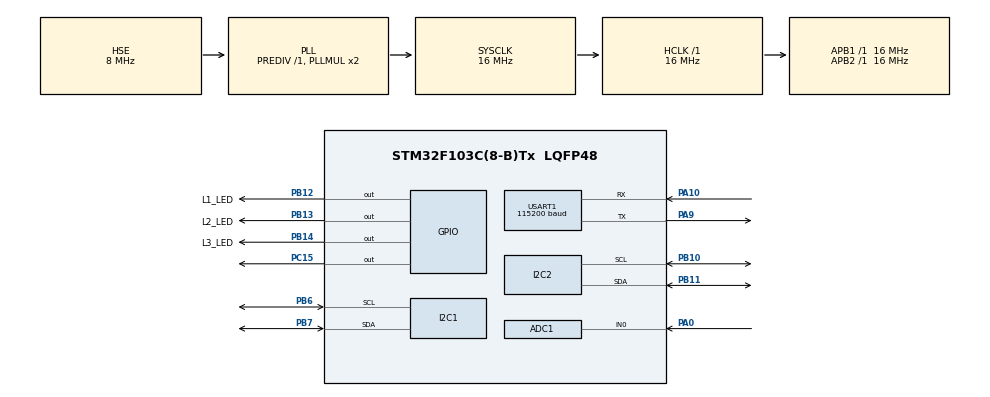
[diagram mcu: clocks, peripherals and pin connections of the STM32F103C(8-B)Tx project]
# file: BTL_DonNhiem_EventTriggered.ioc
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ADC1.Channel-0\#ChannelRegularConversion=ADC_CHANNEL_0
ADC1.ContinuousConvMode=ENABLE
ADC1.NbrOfConversionFlag=1
ADC1.Rank-0\#ChannelRegularConversion=1
ADC1.SamplingTime-0\#ChannelRegularConversion=ADC_SAMPLETIME_1CYCLE_5
ADC1.master=1
Mcu.Family=STM32F1
Mcu.Name=STM32F103C(8-B)Tx
Mcu.Package=LQFP48
NVIC.PriorityGroup=NVIC_PRIORITYGROUP_4
NVIC.TIM2_IRQn=true\:0\:0\:false\:false\:true\:true\:true\:true
NVIC.USART1_IRQn=true\:1\:0\:true\:false\:true\:true\:true\:true
PA0-WKUP.Signal=ADCx_IN0
PA10.Mode=Asynchronous
PA10.Signal=USART1_RX
PA13.Mode=Serial_Wire
PA13.Signal=SYS_JTMS-SWDIO
PA14.Mode=Serial_Wire
PA14.Signal=SYS_JTCK-SWCLK
PA9.Mode=Asynchronous
PA9.Signal=USART1_TX
PB10.Mode=I2C
PB10.Signal=I2C2_SCL
PB11.Mode=I2C
PB11.Signal=I2C2_SDA
PB12.GPIO_Label=L1_LED
PB12.GPIO_Speed=GPIO_SPEED_FREQ_LOW
PB12.PinState=GPIO_PIN_SET
PB12.Signal=GPIO_Output
PB13.GPIO_Label=L2_LED
PB13.PinState=GPIO_PIN_SET
PB13.Signal=GPIO_Output
PB14.GPIO_Label=L3_LED
PB14.PinState=GPIO_PIN_SET
PB14.Signal=GPIO_Output
PB6.Mode=I2C
PB6.Signal=I2C1_SCL
PB7.Mode=I2C
PB7.Signal=I2C1_SDA
PC15-OSC32_OUT.PinState=GPIO_PIN_SET
PC15-OSC32_OUT.Signal=GPIO_Output
PD0-OSC_IN.Mode=HSE-External-Oscillator
PD0-OSC_IN.Signal=RCC_OSC_IN
PD1-OSC_OUT.Mode=HSE-External-Oscillator
PD1-OSC_OUT.Signal=RCC_OSC_OUT
ProjectManager.HeapSize=0x200
ProjectManager.StackSize=0x400
ProjectManager.TargetToolchain=STM32CubeIDE
RCC.AHBFreq_Value=16000000
RCC.APB1Freq_Value=16000000
RCC.APB1TimFreq_Value=16000000
RCC.APB2Freq_Value=16000000
RCC.APB2TimFreq_Value=16000000
RCC.HCLKFreq_Value=16000000
RCC.PLLSourceVirtual=RCC_PLLSOURCE_HSE
RCC.SYSCLKFreq_VALUE=16000000
RCC.SYSCLKSource=RCC_SYSCLKSOURCE_PLLCLK
RCC.USBFreq_Value=16000000
SH.ADCx_IN0.0=ADC1_IN0,IN0
TIM2.Period=521
TIM2.Prescaler=16000-1
USART1.BaudRate=115200
USART1.VirtualMode=VM_ASYNC
VP_TIM2_VS_ClockSourceINT.Mode=Internal
board=custom

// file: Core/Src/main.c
/* USER CODE BEGIN Header */
/**
  ******************************************************************************
  * @file           : main.c
  * @brief          : Main program body
  ******************************************************************************
  * @attention
  *
  * Copyright (c) 2025 STMicroelectronics.
  * All rights reserved.
  *
  * This software is licensed under terms that can be found in the LICENSE file
  * in the root directory of this software component.
  * If no LICENSE file comes with this software, it is provided AS-IS.
  *
  ******************************************************************************
  */
/* USER CODE END Header */
#include "main.h"

/* USER CODE BEGIN Includes */
#include "math.h"
#include "i2c-lcd.h"
#include <stdio.h>
#include "ccs811.h"
#include <stdlib.h>
#include <string.h>
#include "warning.h"
/* USER CODE END Includes */

ADC_HandleTypeDef hadc1;

I2C_HandleTypeDef hi2c1;
I2C_HandleTypeDef hi2c2;

TIM_HandleTypeDef htim2;

UART_HandleTypeDef huart1;

/* USER CODE BEGIN PV */

uint16_t Tvoc ;
uint16_t Tvoc_ppb;
uint32_t CO_adc_val;
uint16_t eCO2 ;
uint16_t CO2_ppm;
float CO_vol;
uint16_t CO_ppm;
char Lcd_buf[16];
uint8_t Uart_TX_Buf[40];
uint8_t Uart_RX_Buf[2];
uint8_t currentFrame = 0;

/* USER CODE END PV */

void SystemClock_Config(void);
static void MX_GPIO_Init(void);
static void MX_ADC1_Init(void);
static void MX_I2C1_Init(void);
static void MX_I2C2_Init(void);
static void MX_USART1_UART_Init(void);
static void MX_TIM2_Init(void);

/* USER CODE BEGIN 0 */

int CO_ppm_convert(float CO_vol) {
    float a = ((5.0 - CO_vol) / CO_vol) * (10/10);
    return (int)round(100 * pow(a, -1.559));
}
void CO_measure()
{
	CO_adc_val = HAL_ADC_GetValue(&hadc1);
	CO_vol = ((float)CO_adc_val / 4095.0) * 5;
	CO_ppm = (uint16_t)(CO_ppm_convert(CO_vol));
}
void TVOC_measure()
{
	CCS811_Read_TVOC(&Tvoc);
	Tvoc_ppb=Tvoc;
}
void CO2_measure()
{
	CCS811_Read_Co2(&eCO2);
	CO2_ppm=eCO2;
}
void LCD_Display_CO()
{
	lcd_clear();
	lcd_put_cur(0,0);
	lcd_send_string ("CO:");
	lcd_put_cur(1,0);
	snprintf(Lcd_buf, sizeof(Lcd_buf), "%d %s", CO_ppm, "ppm");
	lcd_send_string (Lcd_buf);
}

void LCD_Display_CO2()
{
	lcd_clear();
	lcd_put_cur(0,0);
	lcd_send_string ("CO2:");
	lcd_put_cur(1,0);
	snprintf(Lcd_buf, sizeof(Lcd_buf), "%d %s", CO2_ppm, "ppm");
	lcd_send_string (Lcd_buf);
}
void LCD_Display_TVOC()
{
	lcd_clear();
	lcd_put_cur(0,0);
	lcd_send_string ("TVOC:");
	lcd_put_cur(1,0);
	snprintf(Lcd_buf, sizeof(Lcd_buf), "%d %s", Tvoc_ppb, "ppb");
	lcd_send_string (Lcd_buf);
}
void Uart_Send()
{

	sprintf((char*)Uart_TX_Buf, "CO:%d ppm\r\n",(int)CO_ppm);
	HAL_UART_Transmit(&huart1, (uint8_t*)Uart_TX_Buf,strlen((char*)Uart_TX_Buf) , HAL_MAX_DELAY);
	sprintf((char*)Uart_TX_Buf, "CO2:%d ppm\r\n",(int)CO2_ppm);
	HAL_UART_Transmit(&huart1,(uint8_t*)Uart_TX_Buf,strlen((char*)Uart_TX_Buf) , HAL_MAX_DELAY);
	sprintf((char*)Uart_TX_Buf, "TVOC:%d ppb\r\n",(int)Tvoc_ppb);
	HAL_UART_Transmit(&huart1,(uint8_t*) Uart_TX_Buf,strlen((char*)Uart_TX_Buf) , HAL_MAX_DELAY);
	sprintf((char*)Uart_TX_Buf, "--------\r\n");
	HAL_UART_Transmit(&huart1, (uint8_t*)Uart_TX_Buf, strlen((char*)Uart_TX_Buf), HAL_MAX_DELAY);
}

void ExecuteFrame(uint8_t frame) {
    switch (frame) {
        case 0:               // frame 1
            CO_measure();
            break;
        case 1:               //frame 2
            Warning();
            LCD_Display_CO();
            break;
        case 2:
        	CO2_measure();
            break;
        case 3:
            Warning();
            LCD_Display_CO2();
            break;
        case 4:
        	TVOC_measure();;
            break;
        case 5:					//frame 6
            Warning();
            LCD_Display_TVOC();
            Uart_Send();
            break;
    }
}

void HAL_TIM_PeriodElapsedCallback(TIM_HandleTypeDef *htim)
{
    if (htim->Instance == TIM2)  // Kiểm tra nếu ngắt từ Timer 2
    {
    	ExecuteFrame(currentFrame);
    	currentFrame = (currentFrame + 1) % 6; // Cycle through 6 frames
    }
}

void HAL_UART_RxCpltCallback(UART_HandleTypeDef *huart) {
    if (huart->Instance == USART1)
    {
    	if((char)Uart_RX_Buf[0] == '3')
    		 {
    			TVOC_measure();
    			sprintf((char*)Uart_TX_Buf, "TVOC:%d ppb\r\n",(int)Tvoc_ppb);
    			HAL_UART_Transmit(&huart1,(uint8_t*) Uart_TX_Buf,strlen((char*)Uart_TX_Buf) , HAL_MAX_DELAY);
    		 }
    		 else if((char)Uart_RX_Buf[0]  == '2')
    		 {
    			CO2_measure();
    			sprintf((char*)Uart_TX_Buf, "CO2:%d ppm\r\n",(int)Tvoc_ppb);
    			HAL_UART_Transmit(&huart1,(uint8_t*) Uart_TX_Buf,strlen((char*)Uart_TX_Buf) , HAL_MAX_DELAY);
    		 }
    		 else if((char)Uart_RX_Buf[0]  == '1')
    		 {
    			CO_measure();
    			sprintf((char*)Uart_TX_Buf, "CO:%d ppm\r\n",(int)Tvoc_ppb);
    			HAL_UART_Transmit(&huart1,(uint8_t*) Uart_TX_Buf,strlen((char*)Uart_TX_Buf) , HAL_MAX_DELAY);
    		 }
    }
    HAL_UART_Receive_IT(&huart1, Uart_RX_Buf, 1);
}

/* USER CODE END 0 */

int main(void)
{

  /* MCU Configuration--------------------------------------------------------*/

  /* Reset of all peripherals, Initializes the Flash interface and the Systick. */
  HAL_Init();

  /* Configure the system clock */
  SystemClock_Config();

  /* Initialize all configured peripherals */
  MX_GPIO_Init();
  MX_ADC1_Init();
  MX_I2C1_Init();
  MX_I2C2_Init();
  MX_USART1_UART_Init();
  MX_TIM2_Init();
  /* USER CODE BEGIN 2 */
  CCS811_Init();
  CCS811_Reset();
  CCS811_Set_Mode(CCS811_MODE_1SEC);
  CCS811_EnableInt();
  HAL_ADC_Start(&hadc1);
  lcd_init();
  HAL_TIM_Base_Start_IT(&htim2);
  HAL_UART_Receive_IT(&huart1, Uart_RX_Buf, 1);
  /* USER CODE END 2 */

  /* Infinite loop */
  /* USER CODE BEGIN WHILE */
  while (1)
  {
//	  CO_measure();
//	  LCD_Display_CO();
//	  HAL_Delay(1000);
//	  CO2_measure();
//	  LCD_Display_CO2();
//	  HAL_Delay(1000);
//	  TVOC_measure();
//	  LCD_Display_TVOC();
//	  HAL_Delay(1000);
//	  Uart_Send();
    /* USER CODE END WHILE */

  }
}

void SystemClock_Config(void)
{
  RCC_OscInitTypeDef RCC_OscInitStruct = {0};
  RCC_ClkInitTypeDef RCC_ClkInitStruct = {0};
  RCC_PeriphCLKInitTypeDef PeriphClkInit = {0};

  /** Initializes the RCC Oscillators according to the specified parameters
  * in the RCC_OscInitTypeDef structure.
  */
  RCC_OscInitStruct.OscillatorType = RCC_OSCILLATORTYPE_HSE;
  RCC_OscInitStruct.HSEState = RCC_HSE_ON;
  RCC_OscInitStruct.HSEPredivValue = RCC_HSE_PREDIV_DIV1;
  RCC_OscInitStruct.HSIState = RCC_HSI_ON;
  RCC_OscInitStruct.PLL.PLLState = RCC_PLL_ON;
  RCC_OscInitStruct.PLL.PLLSource = RCC_PLLSOURCE_HSE;
  RCC_OscInitStruct.PLL.PLLMUL = RCC_PLL_MUL2;
  if (HAL_RCC_OscConfig(&RCC_OscInitStruct) != HAL_OK)
  {
    Error_Handler();
  }

  /** Initializes the CPU, AHB and APB buses clocks
  */
  RCC_ClkInitStruct.ClockType = RCC_CLOCKTYPE_HCLK|RCC_CLOCKTYPE_SYSCLK
                              |RCC_CLOCKTYPE_PCLK1|RCC_CLOCKTYPE_PCLK2;
  RCC_ClkInitStruct.SYSCLKSource = RCC_SYSCLKSOURCE_PLLCLK;
  RCC_ClkInitStruct.AHBCLKDivider = RCC_SYSCLK_DIV1;
  RCC_ClkInitStruct.APB1CLKDivider = RCC_HCLK_DIV1;
  RCC_ClkInitStruct.APB2CLKDivider = RCC_HCLK_DIV1;

  if (HAL_RCC_ClockConfig(&RCC_ClkInitStruct, FLASH_LATENCY_0) != HAL_OK)
  {
    Error_Handler();
  }
  PeriphClkInit.PeriphClockSelection = RCC_PERIPHCLK_ADC;
  PeriphClkInit.AdcClockSelection = RCC_ADCPCLK2_DIV2;
  if (HAL_RCCEx_PeriphCLKConfig(&PeriphClkInit) != HAL_OK)
  {
    Error_Handler();
  }
}

static void MX_ADC1_Init(void)
{

  ADC_ChannelConfTypeDef sConfig = {0};

  /** Common config
  */
  hadc1.Instance = ADC1;
  hadc1.Init.ScanConvMode = ADC_SCAN_DISABLE;
  hadc1.Init.ContinuousConvMode = ENABLE;
  hadc1.Init.DiscontinuousConvMode = DISABLE;
  hadc1.Init.ExternalTrigConv = ADC_SOFTWARE_START;
  hadc1.Init.DataAlign = ADC_DATAALIGN_RIGHT;
  hadc1.Init.NbrOfConversion = 1;
  if (HAL_ADC_Init(&hadc1) != HAL_OK)
  {
    Error_Handler();
  }

  /** Configure Regular Channel
  */
  sConfig.Channel = ADC_CHANNEL_0;
  sConfig.Rank = ADC_REGULAR_RANK_1;
  sConfig.SamplingTime = ADC_SAMPLETIME_1CYCLE_5;
  if (HAL_ADC_ConfigChannel(&hadc1, &sConfig) != HAL_OK)
  {
    Error_Handler();
  }

}

static void MX_I2C1_Init(void)
{

  hi2c1.Instance = I2C1;
  hi2c1.Init.ClockSpeed = 100000;
  hi2c1.Init.DutyCycle = I2C_DUTYCYCLE_2;
  hi2c1.Init.OwnAddress1 = 0;
  hi2c1.Init.AddressingMode = I2C_ADDRESSINGMODE_7BIT;
  hi2c1.Init.DualAddressMode = I2C_DUALADDRESS_DISABLE;
  hi2c1.Init.OwnAddress2 = 0;
  hi2c1.Init.GeneralCallMode = I2C_GENERALCALL_DISABLE;
  hi2c1.Init.NoStretchMode = I2C_NOSTRETCH_DISABLE;
  if (HAL_I2C_Init(&hi2c1) != HAL_OK)
  {
    Error_Handler();
  }

}

static void MX_I2C2_Init(void)
{

  hi2c2.Instance = I2C2;
  hi2c2.Init.ClockSpeed = 100000;
  hi2c2.Init.DutyCycle = I2C_DUTYCYCLE_2;
  hi2c2.Init.OwnAddress1 = 0;
  hi2c2.Init.AddressingMode = I2C_ADDRESSINGMODE_7BIT;
  hi2c2.Init.DualAddressMode = I2C_DUALADDRESS_DISABLE;
  hi2c2.Init.OwnAddress2 = 0;
  hi2c2.Init.GeneralCallMode = I2C_GENERALCALL_DISABLE;
  hi2c2.Init.NoStretchMode = I2C_NOSTRETCH_DISABLE;
  if (HAL_I2C_Init(&hi2c2) != HAL_OK)
  {
    Error_Handler();
  }

}

static void MX_TIM2_Init(void)
{

  TIM_ClockConfigTypeDef sClockSourceConfig = {0};
  TIM_MasterConfigTypeDef sMasterConfig = {0};

  htim2.Instance = TIM2;
  htim2.Init.Prescaler = 16000-1;
  htim2.Init.CounterMode = TIM_COUNTERMODE_UP;
  htim2.Init.Period = 521;
  htim2.Init.ClockDivision = TIM_CLOCKDIVISION_DIV1;
  htim2.Init.AutoReloadPreload = TIM_AUTORELOAD_PRELOAD_DISABLE;
  if (HAL_TIM_Base_Init(&htim2) != HAL_OK)
  {
    Error_Handler();
  }
  sClockSourceConfig.ClockSource = TIM_CLOCKSOURCE_INTERNAL;
  if (HAL_TIM_ConfigClockSource(&htim2, &sClockSourceConfig) != HAL_OK)
  {
    Error_Handler();
  }
  sMasterConfig.MasterOutputTrigger = TIM_TRGO_RESET;
  sMasterConfig.MasterSlaveMode = TIM_MASTERSLAVEMODE_DISABLE;
  if (HAL_TIMEx_MasterConfigSynchronization(&htim2, &sMasterConfig) != HAL_OK)
  {
    Error_Handler();
  }

}

static void MX_USART1_UART_Init(void)
{

  huart1.Instance = USART1;
  huart1.Init.BaudRate = 115200;
  huart1.Init.WordLength = UART_WORDLENGTH_8B;
  huart1.Init.StopBits = UART_STOPBITS_1;
  huart1.Init.Parity = UART_PARITY_NONE;
  huart1.Init.Mode = UART_MODE_TX_RX;
  huart1.Init.HwFlowCtl = UART_HWCONTROL_NONE;
  huart1.Init.OverSampling = UART_OVERSAMPLING_16;
  if (HAL_UART_Init(&huart1) != HAL_OK)
  {
    Error_Handler();
  }

}

static void MX_GPIO_Init(void)
{
  GPIO_InitTypeDef GPIO_InitStruct = {0};

  /* GPIO Ports Clock Enable */
  __HAL_RCC_GPIOC_CLK_ENABLE();
  __HAL_RCC_GPIOD_CLK_ENABLE();
  __HAL_RCC_GPIOA_CLK_ENABLE();
  __HAL_RCC_GPIOB_CLK_ENABLE();

  /*Configure GPIO pin Output Level */
  HAL_GPIO_WritePin(GPIOC, GPIO_PIN_15, GPIO_PIN_SET);

  /*Configure GPIO pin Output Level */
  HAL_GPIO_WritePin(GPIOB, L1_LED_Pin|L2_LED_Pin|L3_LED_Pin, GPIO_PIN_SET);

  /*Configure GPIO pin : PC15 */
  GPIO_InitStruct.Pin = GPIO_PIN_15;
  GPIO_InitStruct.Mode = GPIO_MODE_OUTPUT_PP;
  GPIO_InitStruct.Pull = GPIO_NOPULL;
  GPIO_InitStruct.Speed = GPIO_SPEED_FREQ_LOW;
  HAL_GPIO_Init(GPIOC, &GPIO_InitStruct);

  /*Configure GPIO pins : L1_LED_Pin L2_LED_Pin L3_LED_Pin */
  GPIO_InitStruct.Pin = L1_LED_Pin|L2_LED_Pin|L3_LED_Pin;
  GPIO_InitStruct.Mode = GPIO_MODE_OUTPUT_PP;
  GPIO_InitStruct.Pull = GPIO_NOPULL;
  GPIO_InitStruct.Speed = GPIO_SPEED_FREQ_LOW;
  HAL_GPIO_Init(GPIOB, &GPIO_InitStruct);

}

void Error_Handler(void)
{
  __disable_irq();
  while (1)
  {
  }
}
